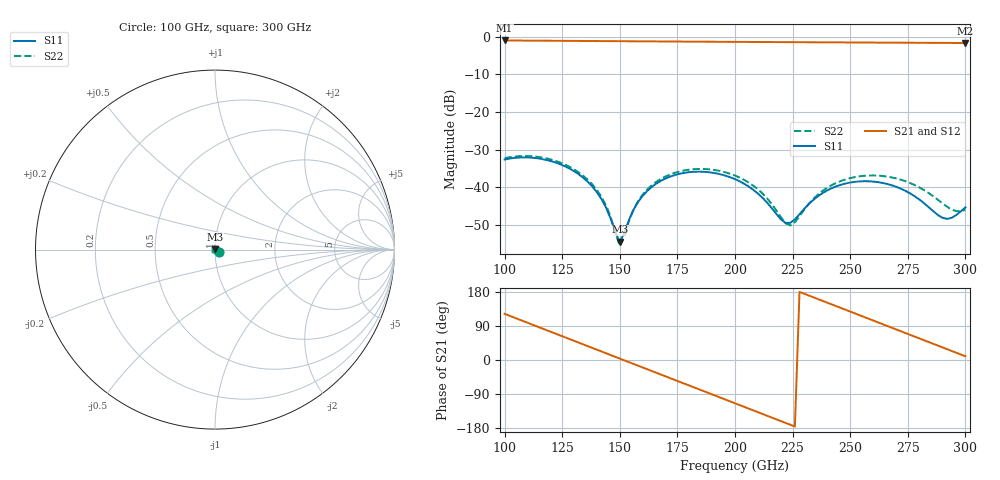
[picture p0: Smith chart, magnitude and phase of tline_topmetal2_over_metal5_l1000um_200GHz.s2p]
#  GHZ S DB R 50
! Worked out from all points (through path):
!   101 points, 100 GHz to 300 GHz, reference 50 ohm
!   highest |S21| = -1.03 dB at 100 GHz (marker M1); lowest = -1.7 dB at 300 GHz (marker M2)
!   group delay of S21, straight-line fit = 6.55 ps
!   lowest |S11| = -54.5 dB at 150 GHz (marker M3), VSWR 1.00, Z = 49.9 + j0.157 ohm
!   |S11| at or under -10 dB: start of sweep to end of sweep
!   |S22| runs from -55.7 to -31.7 dB; largest |S21 - S12| = 1.5e-12
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100  -32.67 -31.2  -1.03 121.8  -1.03 121.8  -32.32 -32.4
116  -32.49 -69.7  -1.09 84.0  -1.09 84.0  -32.10 -70.8
124  -33.88 -89.7  -1.12 65.1  -1.12 65.1  -33.44 -90.7
134  -37.43 -116.4  -1.16 41.5  -1.16 41.5  -36.93 -117.0
140  -41.28 -135.5  -1.19 27.3  -1.19 27.3  -40.73 -135.2
144  -45.38 -153.1  -1.20 17.9  -1.20 17.9  -44.82 -151.2
150  -54.49 123.5  -1.23 3.7  -1.23 3.7  -55.67 127.6
158  -43.88 30.3  -1.26 -15.2  -1.26 -15.2  -43.65 25.4
168  -38.26 -2.8  -1.29 -38.8  -1.29 -38.8  -37.76 -6.6
184  -35.88 -46.4  -1.35 -76.5  -1.35 -76.5  -35.16 -49.6
200  -37.87 -91.2  -1.40 -114.2  -1.40 -114.2  -36.92 -93.6
210  -41.72 -125.4  -1.44 -137.8  -1.44 -137.8  -40.60 -126.0
220  -48.58 170.3  -1.47 -161.4  -1.47 -161.4  -48.04 176.4
224  -49.47 122.1  -1.48 -170.9  -1.48 -170.9  -50.16 124.8
234  -43.39 45.9  -1.51 165.5  -1.51 165.5  -43.11 37.9
242  -40.27 15.4  -1.54 146.7  -1.54 146.7  -39.45 7.3
252  -38.59 -16.0  -1.56 123.1  -1.56 123.1  -37.32 -23.8
268  -39.49 -64.8  -1.61 85.3  -1.61 85.3  -37.40 -71.8
278  -42.41 -101.1  -1.64 61.7  -1.64 61.7  -39.45 -105.3
290  -48.12 -177.9  -1.68 33.4  -1.68 33.4  -44.27 -162.5
294  -48.15 142.4  -1.69 24.0  -1.69 24.0  -45.92 167.4
300  -45.37 95.4  -1.70 9.8  -1.70 9.8  -45.99 113.9
